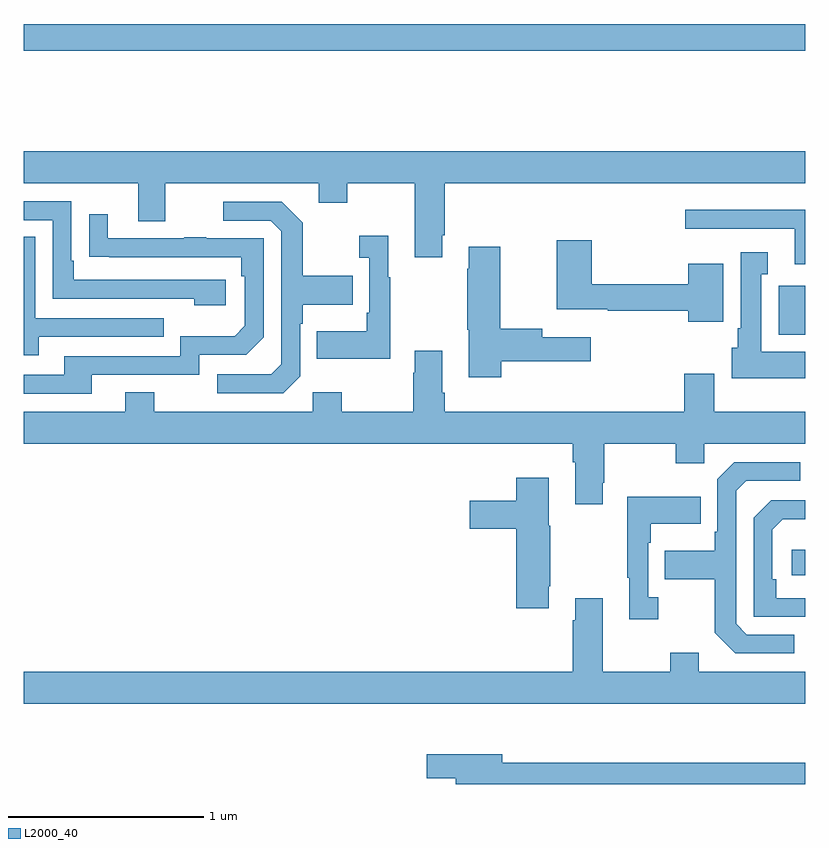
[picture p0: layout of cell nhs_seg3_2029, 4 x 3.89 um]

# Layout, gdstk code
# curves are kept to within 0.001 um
import gdstk
lib = gdstk.Library(unit=1e-6, precision=1e-09)
def R(c, l, rs):  # rectangles x0, y0, x1, y1
    for r in rs: c.add(gdstk.rectangle(r[:2], r[2:], *l))
def P(c, l, *ps):  # polygons
    for p in ps: c.add(gdstk.Polygon(p, *l))
L2000_40 = (2000, 40)

nhs_seg3_2029 = lib.new_cell('nhs_seg3_2029')
R(nhs_seg3_2029, L2000_40, [(218.931,717.558,219,717.688), (218.865,718.79,219,719.04), (215,720.244,219,720.38)])
P(nhs_seg3_2029, L2000_40, [(217.141,719.299),(217.154,719.299),(217.154,719.564),(219,719.564),(219,719.728),(215,719.728),(215,719.564),(215.585,719.564),(215.585,719.37),(215.725,719.37),(215.725,719.564),(216.509,719.564),(216.509,719.465),(216.657,719.465),(216.657,719.564),(217.001,719.564),(217.001,719.187),(217.141,719.187)],
  [(216.034,719.07),(215.257,719.07),(215.257,719.167),(215.244,719.167),(215.244,719.472),(215,719.472),(215,719.376),(215.148,719.376),(215.148,718.974),(215.873,718.974),(215.873,718.94),(216.034,718.94)],
  [(216.414,718.578),(216.414,718.847),(216.427,718.847),(216.427,718.943),(216.683,718.943),(216.683,719.091),(216.427,719.091),(216.427,719.363),(216.321,719.469),(216.021,719.469),(216.021,719.373),(216.264,719.373),(216.318,719.319),(216.318,718.638),(216.267,718.587),(215.991,718.587),(215.991,718.491),(216.327,718.491)],
  [(219,719.428),(218.385,719.428),(218.385,719.331),(218.945,719.331),(218.945,719.15),(219,719.15)],
  [(215.347,718.584),(215.898,718.584),(215.898,718.686),(216.138,718.686),(216.228,718.776),(216.228,719.283),(215.933,719.283),(215.933,719.288),(215.821,719.288),(215.821,719.283),(215.431,719.283),(215.431,719.407),(215.335,719.407),(215.335,719.188),(216.112,719.187),(216.112,719.09),(216.132,719.09),(216.132,718.836),(216.079,718.783),(215.802,718.783),(215.802,718.68),(215.207,718.68),(215.207,718.584),(215,718.584),(215,718.488),(215.347,718.488)],
  [(216.877,719.083),(216.865,719.083),(216.865,719.296),(216.717,719.296),(216.717,719.183),(216.768,719.183),(216.768,718.903),(216.756,718.903),(216.756,718.807),(216.499,718.807),(216.499,718.667),(216.877,718.667)],
  [(215.077,718.779),(215.717,718.779),(215.717,718.875),(215.058,718.875),(215.058,719.291),(215,719.291),(215,718.685),(215.077,718.685)],
  [(218.581,719.152),(218.402,719.152),(218.402,719.048),(217.907,719.048),(217.907,719.272),(217.729,719.272),(217.729,718.919),(217.99,718.919),(217.99,718.912),(218.402,718.912),(218.402,718.856),(218.581,718.856)],
  [(217.445,718.655),(217.903,718.655),(217.903,718.777),(217.654,718.777),(217.654,718.819),(217.44,718.819),(217.44,719.239),(217.277,719.239),(217.277,719.126),(217.27,719.126),(217.27,718.815),(217.277,718.815),(217.277,718.572),(217.445,718.572)],
  [(219,718.702),(218.776,718.702),(218.776,719.099),(218.809,719.099),(218.809,719.212),(218.669,719.212),(218.669,718.822),(218.654,718.822),(218.654,718.722),(218.624,718.722),(218.624,718.568),(219,718.568)],
  [(216.48,718.495),(216.48,718.396),(215.667,718.396),(215.667,718.495),(215.519,718.495),(215.519,718.396),(215,718.396),(215,718.232),(217.811,718.232),(217.811,718.136),(217.823,718.136),(217.823,717.921),(217.963,717.921),(217.963,718.033),(217.971,718.033),(217.971,718.232),(218.338,718.232),(218.338,718.133),(218.484,718.133),(218.484,718.232),(219,718.232),(219,718.396),(218.533,718.396),(218.533,718.591),(218.381,718.591),(218.381,718.396),(217.154,718.396),(217.154,718.492),(217.141,718.492),(217.141,718.708),(217.001,718.708),(217.001,718.595),(216.994,718.595),(216.994,718.396),(216.627,718.396),(216.627,718.495)],
  [(218.944,717.255),(218.7,717.255),(218.646,717.309),(218.646,717.99),(218.697,718.041),(218.974,718.041),(218.974,718.137),(218.637,718.137),(218.55,718.05),(218.55,717.781),(218.538,717.781),(218.538,717.685),(218.281,717.685),(218.281,717.538),(218.538,717.538),(218.538,717.265),(218.643,717.159),(218.944,717.159)],
  [(217.687,717.502),(217.695,717.502),(217.695,717.813),(217.687,717.813),(217.687,718.057),(217.52,718.057),(217.52,717.939),(217.284,717.939),(217.284,717.797),(217.52,717.797),(217.52,717.39),(217.687,717.39)],
  [(218.248,717.446),(218.196,717.446),(218.196,717.725),(218.209,717.725),(218.209,717.821),(218.465,717.821),(218.465,717.961),(218.088,717.961),(218.088,717.545),(218.099,717.545),(218.099,717.333),(218.248,717.333)],
  [(219,717.441),(218.852,717.441),(218.852,717.538),(218.832,717.538),(218.832,717.792),(218.885,717.845),(219,717.845),(219,717.942),(218.826,717.942),(218.736,717.852),(218.736,717.345),(219,717.345)],
  [(219,717.064),(218.455,717.064),(218.455,717.163),(218.308,717.163),(218.308,717.064),(217.963,717.064),(217.963,717.442),(217.823,717.442),(217.823,717.329),(217.811,717.329),(217.811,717.064),(215,717.064),(215,716.9),(219,716.9)],
  [(219,716.599),(217.45,716.599),(217.45,716.641),(217.062,716.641),(217.062,716.519),(217.211,716.519),(217.211,716.49),(219,716.49)])

lib.write_gds('nhs_seg3_2029.gds')
